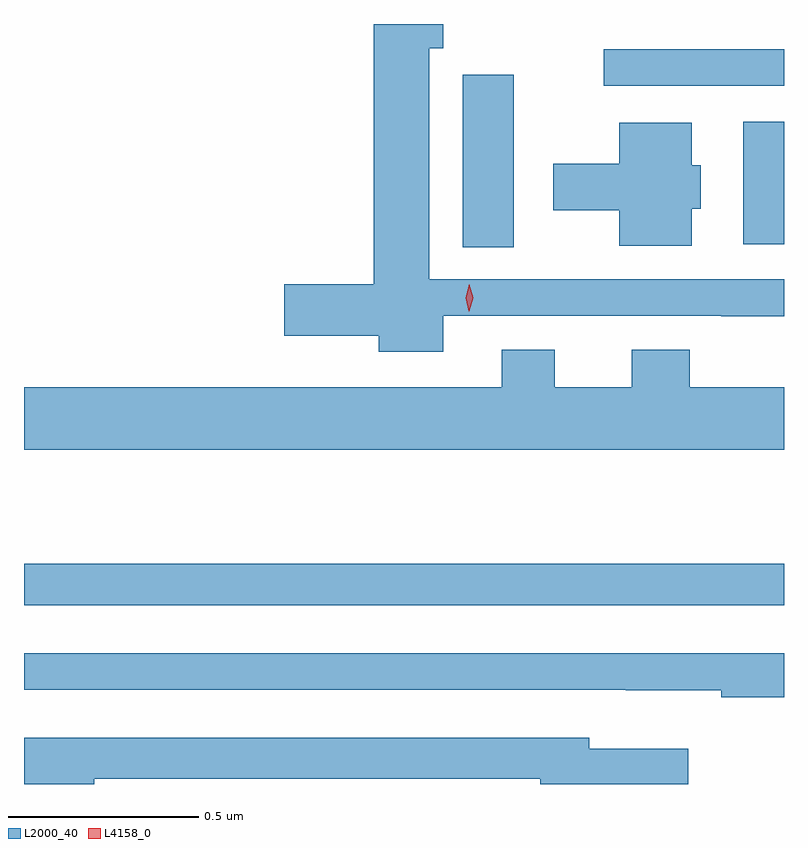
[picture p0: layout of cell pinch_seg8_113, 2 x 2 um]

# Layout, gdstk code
import gdstk
lib = gdstk.Library(unit=1e-6, precision=1e-09)
def R(c, l, rs):  # rectangles x0, y0, x1, y1
    for r in rs: c.add(gdstk.rectangle(r[:2], r[2:], *l))
def P(c, l, *ps):  # polygons
    for p in ps: c.add(gdstk.Polygon(p, *l))
L2000_40 = (2000, 40)
L4158_0 = (4158, 0)

pinch_seg8_113 = lib.new_cell('pinch_seg8_113')
R(pinch_seg8_113, L2000_40, [(1059.311,1086.786,1061.311,1086.895), (1060.466,1087.729,1060.6,1088.182), (1061.204,1087.736,1061.311,1088.059), (1060.836,1088.154,1061.311,1088.25)])
P(pinch_seg8_113, L2000_40, [(1060.414,1087.548),(1061.146,1087.548),(1061.146,1087.547),(1061.311,1087.547),(1061.311,1087.644),(1060.378,1087.644),(1060.378,1088.252),(1060.414,1088.252),(1060.414,1088.316),(1060.232,1088.316),(1060.232,1087.631),(1059.996,1087.631),(1059.996,1087.496),(1060.244,1087.496),(1060.244,1087.454),(1060.414,1087.454)],
  [(1061.068,1087.83),(1061.092,1087.83),(1061.092,1087.944),(1061.068,1087.944),(1061.068,1088.056),(1060.877,1088.056),(1060.877,1087.948),(1060.704,1087.948),(1060.704,1087.826),(1060.877,1087.826),(1060.877,1087.733),(1061.068,1087.733)],
  [(1060.91,1087.459),(1060.91,1087.36),(1060.708,1087.36),(1060.708,1087.459),(1060.568,1087.459),(1060.568,1087.36),(1059.311,1087.36),(1059.311,1087.196),(1061.311,1087.196),(1061.311,1087.36),(1061.063,1087.36),(1061.063,1087.459)],
  [(1061.311,1086.66),(1059.311,1086.66),(1059.311,1086.564),(1060.894,1086.564),(1060.894,1086.563),(1061.146,1086.563),(1061.146,1086.544),(1061.311,1086.544)],
  [(1059.496,1086.33),(1060.67,1086.33),(1060.67,1086.316),(1061.059,1086.316),(1061.059,1086.409),(1060.798,1086.409),(1060.798,1086.438),(1059.311,1086.438),(1059.311,1086.316),(1059.496,1086.316)])
P(pinch_seg8_113, L4158_0, [(1060.482,1087.56),(1060.482,1087.56),(1060.473,1087.595),(1060.483,1087.631),(1060.483,1087.631),(1060.483,1087.631),(1060.493,1087.595),(1060.483,1087.56)])

lib.write_gds('pinch_seg8_113.gds')
